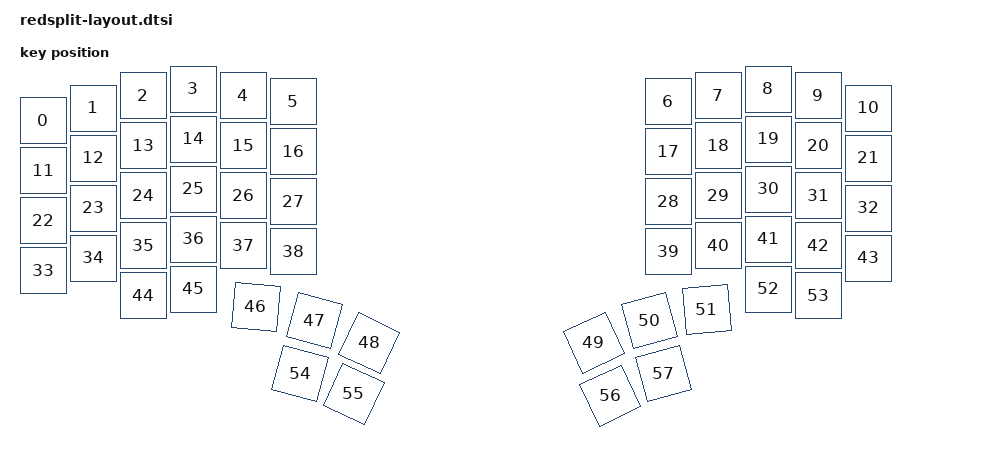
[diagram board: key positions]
#include <physical_layouts.dtsi>

/ {
  chosen {
      zmk,physical-layout = &physical_layout0;
  };

  physical_layout0: physical_layout_0 {
      transform = <&default_transform>;
      compatible = "zmk,physical-layout";
      display-name = "Redsplit Keyboard";

      keys  //                     w   h    x    y     rot    rx    ry
            = <&key_physical_attrs 100 100    0   63       0     0     0>
            , <&key_physical_attrs 100 100  100   38       0     0     0>
            , <&key_physical_attrs 100 100  200   13       0     0     0>
            , <&key_physical_attrs 100 100  300    0       0     0     0>
            , <&key_physical_attrs 100 100  400   13       0     0     0>
            , <&key_physical_attrs 100 100  500   25       0     0     0>
            , <&key_physical_attrs 100 100 1250   25       0     0     0>
            , <&key_physical_attrs 100 100 1350   13       0     0     0>
            , <&key_physical_attrs 100 100 1450    0       0     0     0>
            , <&key_physical_attrs 100 100 1550   13       0     0     0>
            , <&key_physical_attrs 100 100 1650   38       0     0     0>
            , <&key_physical_attrs 100 100    0  163       0     0     0>
            , <&key_physical_attrs 100 100  100  138       0     0     0>
            , <&key_physical_attrs 100 100  200  113       0     0     0>
            , <&key_physical_attrs 100 100  300  100       0     0     0>
            , <&key_physical_attrs 100 100  400  113       0     0     0>
            , <&key_physical_attrs 100 100  500  125       0     0     0>
            , <&key_physical_attrs 100 100 1250  125       0     0     0>
            , <&key_physical_attrs 100 100 1350  113       0     0     0>
            , <&key_physical_attrs 100 100 1450  100       0     0     0>
            , <&key_physical_attrs 100 100 1550  113       0     0     0>
            , <&key_physical_attrs 100 100 1650  138       0     0     0>
            , <&key_physical_attrs 100 100    0  263       0     0     0>
            , <&key_physical_attrs 100 100  100  238       0     0     0>
            , <&key_physical_attrs 100 100  200  213       0     0     0>
            , <&key_physical_attrs 100 100  300  200       0     0     0>
            , <&key_physical_attrs 100 100  400  213       0     0     0>
            , <&key_physical_attrs 100 100  500  225       0     0     0>
            , <&key_physical_attrs 100 100 1250  225       0     0     0>
            , <&key_physical_attrs 100 100 1350  213       0     0     0>
            , <&key_physical_attrs 100 100 1450  200       0     0     0>
            , <&key_physical_attrs 100 100 1550  213       0     0     0>
            , <&key_physical_attrs 100 100 1650  238       0     0     0>
            , <&key_physical_attrs 100 100    0  363       0     0     0>
            , <&key_physical_attrs 100 100  100  338       0     0     0>
            , <&key_physical_attrs 100 100  200  313       0     0     0>
            , <&key_physical_attrs 100 100  300  300       0     0     0>
            , <&key_physical_attrs 100 100  400  313       0     0     0>
            , <&key_physical_attrs 100 100  500  325       0     0     0>
            , <&key_physical_attrs 100 100 1250  325       0     0     0>
            , <&key_physical_attrs 100 100 1350  313       0     0     0>
            , <&key_physical_attrs 100 100 1450  300       0     0     0>
            , <&key_physical_attrs 100 100 1550  313       0     0     0>
            , <&key_physical_attrs 100 100 1650  338       0     0     0>
            , <&key_physical_attrs 100 100  200  413       0     0     0>
            , <&key_physical_attrs 100 100  300  400       0     0     0>
            , <&key_physical_attrs 100 100  405  443     500   545   730>
            , <&key_physical_attrs 100 100  485  458    1500   545   730>
            , <&key_physical_attrs 100 100  565  458    2500   545   730>
            , <&key_physical_attrs 100 100 1155  553 (-2500)  1075   700>
            , <&key_physical_attrs 100 100 1255  518 (-1500)  1075   700>
            , <&key_physical_attrs 100 100 1345  468  (-500)  1075   700>
            , <&key_physical_attrs 100 100 1450  400       0     0     0>
            , <&key_physical_attrs 100 100 1550  413       0     0     0>
            , <&key_physical_attrs 100 100  485  568    1500   545   730>
            , <&key_physical_attrs 100 100  580  563    2500   545   730>
            , <&key_physical_attrs 100 100 1140  663 (-2500)  1075   700>
            , <&key_physical_attrs 100 100 1255  628 (-1500)  1075   700>
            ;
  };

  position_map {
    compatible = "zmk,physical-layout-position-map";

    layout {
        physical-layout = <&physical_layout0>;
        positions = <>;
    };
  };
};
